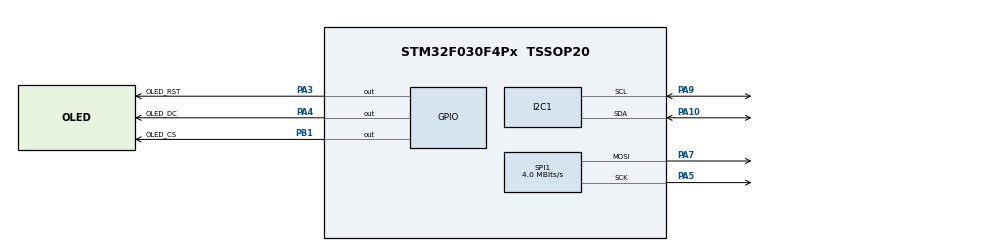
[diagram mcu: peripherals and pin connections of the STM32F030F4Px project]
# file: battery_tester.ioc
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Mcu.Family=STM32F0
Mcu.Name=STM32F030F4Px
Mcu.Package=TSSOP20
NVIC.TIM17_IRQn=true\:0\:0\:false\:false\:true\:true\:true\:true
PA10.Mode=I2C
PA10.Signal=I2C1_SDA
PA13.Mode=Serial_Wire
PA13.Signal=SYS_SWDIO
PA14.Mode=Serial_Wire
PA14.Signal=SYS_SWCLK
PA3.GPIO_Label=OLED_RST
PA3.Signal=GPIO_Output
PA4.GPIO_Label=OLED_DC
PA4.Signal=GPIO_Output
PA5.Mode=TX_Only_Simplex_Unidirect_Master
PA5.Signal=SPI1_SCK
PA7.Mode=TX_Only_Simplex_Unidirect_Master
PA7.Signal=SPI1_MOSI
PA9.Mode=I2C
PA9.Signal=I2C1_SCL
PB1.GPIO_Label=OLED_CS
PB1.Signal=GPIO_Output
ProjectManager.HeapSize=0x200
ProjectManager.StackSize=0x400
ProjectManager.TargetToolchain=STM32CubeIDE
SPI1.BaudRatePrescaler=SPI_BAUDRATEPRESCALER_2
SPI1.CalculateBaudRate=4.0 MBits/s
SPI1.DataSize=SPI_DATASIZE_8BIT
SPI1.Direction=SPI_DIRECTION_2LINES
SPI1.Mode=SPI_MODE_MASTER
SPI1.VirtualType=VM_MASTER
TIM17.Period=999
TIM17.Prescaler=7999
VP_TIM17_VS_ClockSourceINT.Mode=Enable_Timer
board=custom

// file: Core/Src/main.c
/* USER CODE BEGIN Header */
/**
  ******************************************************************************
  * @file           : main.c
  * @brief          : Main program body
  ******************************************************************************
  * @attention
  *
  * Copyright (c) 2024 STMicroelectronics.
  * All rights reserved.
  *
  * This software is licensed under terms that can be found in the LICENSE file
  * in the root directory of this software component.
  * If no LICENSE file comes with this software, it is provided AS-IS.
  *
  ******************************************************************************
  */
/* USER CODE END Header */
#include "main.h"

/* USER CODE BEGIN Includes */
#include "ina219.h"
#include "ssd1306.h"
#include "ssd1306_fonts.h"
#include <stdio.h>
/* USER CODE END Includes */

/* USER CODE BEGIN PTD */
typedef struct {
	uint32_t voltage;
	uint32_t current;
	uint64_t capacity;
	uint64_t energy;
}BatteryStatus_t;

/* USER CODE END PTD */

I2C_HandleTypeDef hi2c1;

SPI_HandleTypeDef hspi1;

TIM_HandleTypeDef htim17;

/* USER CODE BEGIN PV */
INA219_t ina219;
volatile BatteryStatus_t battery = {
		.voltage = 0,
		.current = 0,
		.capacity = 0,
		.energy = 0
};
uint32_t time = 0;
/* USER CODE END PV */

void SystemClock_Config(void);
static void MX_GPIO_Init(void);
static void MX_I2C1_Init(void);
static void MX_TIM17_Init(void);
static void MX_SPI1_Init(void);

/* USER CODE BEGIN 0 */
void HAL_TIM_PeriodElapsedCallback(TIM_HandleTypeDef *htim) {
    if(htim->Instance == TIM17) {
    	battery.voltage = INA219_ReadBusVoltage(&ina219);            // mV
    	battery.current = INA219_ReadCurrent(&ina219);               // mA
    	battery.capacity += battery.current;                         // Must be divided by 3600
    	battery.energy += (battery.voltage * battery.current / 1000);   // mWh, bust be divided by 3600
    	time += 1;                                                   // seconds counter

    	char txt[25];
    	ssd1306_Fill(Black);

    	sprintf(txt, "%u.%03u V", (uint16_t)(battery.voltage / 1000), (uint16_t)(battery.voltage % 1000));
    	ssd1306_SetCursor(2, 2);
    	ssd1306_WriteString(txt, Font_6x8, White);

    	sprintf(txt, "%u.%03u A", (uint16_t)(battery.current / 1000), (uint16_t)(battery.current % 1000));
    	ssd1306_SetCursor(2, 12);
    	ssd1306_WriteString(txt, Font_6x8, White);

    	uint64_t capacity = battery.capacity / 3600;
    	sprintf(txt, "%u.%03u Ah", (uint16_t)(capacity / 1000), (uint16_t)(capacity % 1000));
    	ssd1306_SetCursor(2, 22);
    	ssd1306_WriteString(txt, Font_6x8, White);

    	uint64_t energy = battery.energy / 3600;
    	sprintf(txt, "%u.%03u Wh", (uint16_t)(energy / 1000), (uint16_t)(energy % 1000));
    	ssd1306_SetCursor(2, 32);
    	ssd1306_WriteString(txt, Font_6x8, White);

    	uint8_t hours = time / 3600;
    	uint8_t minutes = (time % 3600) / 60;
    	uint8_t seconds = (time % 3600) % 60;
    	sprintf(txt, "%02u:%02u:%02u", hours, minutes, seconds);
    	ssd1306_SetCursor(2, 42);
    	ssd1306_WriteString(txt, Font_6x8, White);
    	ssd1306_UpdateScreen();
    }
}
/* USER CODE END 0 */

int main(void)
{

  /* MCU Configuration--------------------------------------------------------*/

  /* Reset of all peripherals, Initializes the Flash interface and the Systick. */
  HAL_Init();

  /* Configure the system clock */
  SystemClock_Config();

  /* Initialize all configured peripherals */
  MX_GPIO_Init();
  MX_I2C1_Init();
  MX_TIM17_Init();
  MX_SPI1_Init();
  /* USER CODE BEGIN 2 */
  ssd1306_Init();
  ssd1306_Fill(Black);
  ssd1306_SetCursor(2, 2);
  ssd1306_WriteString("Init...", Font_6x8, White);
  ssd1306_UpdateScreen();

  while(!INA219_Init(&ina219, &hi2c1, 0x41)) { }

  HAL_TIM_Base_Start_IT(&htim17);

  /* USER CODE END 2 */

  /* Infinite loop */
  while (1)
  {

  }
}

void SystemClock_Config(void)
{
  RCC_OscInitTypeDef RCC_OscInitStruct = {0};
  RCC_ClkInitTypeDef RCC_ClkInitStruct = {0};
  RCC_PeriphCLKInitTypeDef PeriphClkInit = {0};

  /** Initializes the RCC Oscillators according to the specified parameters
  * in the RCC_OscInitTypeDef structure.
  */
  RCC_OscInitStruct.OscillatorType = RCC_OSCILLATORTYPE_HSI;
  RCC_OscInitStruct.HSIState = RCC_HSI_ON;
  RCC_OscInitStruct.HSICalibrationValue = RCC_HSICALIBRATION_DEFAULT;
  RCC_OscInitStruct.PLL.PLLState = RCC_PLL_NONE;
  if (HAL_RCC_OscConfig(&RCC_OscInitStruct) != HAL_OK)
  {
    Error_Handler();
  }

  /** Initializes the CPU, AHB and APB buses clocks
  */
  RCC_ClkInitStruct.ClockType = RCC_CLOCKTYPE_HCLK|RCC_CLOCKTYPE_SYSCLK
                              |RCC_CLOCKTYPE_PCLK1;
  RCC_ClkInitStruct.SYSCLKSource = RCC_SYSCLKSOURCE_HSI;
  RCC_ClkInitStruct.AHBCLKDivider = RCC_SYSCLK_DIV1;
  RCC_ClkInitStruct.APB1CLKDivider = RCC_HCLK_DIV1;

  if (HAL_RCC_ClockConfig(&RCC_ClkInitStruct, FLASH_LATENCY_0) != HAL_OK)
  {
    Error_Handler();
  }
  PeriphClkInit.PeriphClockSelection = RCC_PERIPHCLK_I2C1;
  PeriphClkInit.I2c1ClockSelection = RCC_I2C1CLKSOURCE_HSI;
  if (HAL_RCCEx_PeriphCLKConfig(&PeriphClkInit) != HAL_OK)
  {
    Error_Handler();
  }
}

static void MX_I2C1_Init(void)
{

  hi2c1.Instance = I2C1;
  hi2c1.Init.Timing = 0x2000090E;
  hi2c1.Init.OwnAddress1 = 0;
  hi2c1.Init.AddressingMode = I2C_ADDRESSINGMODE_7BIT;
  hi2c1.Init.DualAddressMode = I2C_DUALADDRESS_DISABLE;
  hi2c1.Init.OwnAddress2 = 0;
  hi2c1.Init.OwnAddress2Masks = I2C_OA2_NOMASK;
  hi2c1.Init.GeneralCallMode = I2C_GENERALCALL_DISABLE;
  hi2c1.Init.NoStretchMode = I2C_NOSTRETCH_DISABLE;
  if (HAL_I2C_Init(&hi2c1) != HAL_OK)
  {
    Error_Handler();
  }

  /** Configure Analogue filter
  */
  if (HAL_I2CEx_ConfigAnalogFilter(&hi2c1, I2C_ANALOGFILTER_ENABLE) != HAL_OK)
  {
    Error_Handler();
  }

  /** Configure Digital filter
  */
  if (HAL_I2CEx_ConfigDigitalFilter(&hi2c1, 0) != HAL_OK)
  {
    Error_Handler();
  }

}

static void MX_SPI1_Init(void)
{

  /* SPI1 parameter configuration*/
  hspi1.Instance = SPI1;
  hspi1.Init.Mode = SPI_MODE_MASTER;
  hspi1.Init.Direction = SPI_DIRECTION_2LINES;
  hspi1.Init.DataSize = SPI_DATASIZE_8BIT;
  hspi1.Init.CLKPolarity = SPI_POLARITY_LOW;
  hspi1.Init.CLKPhase = SPI_PHASE_1EDGE;
  hspi1.Init.NSS = SPI_NSS_SOFT;
  hspi1.Init.BaudRatePrescaler = SPI_BAUDRATEPRESCALER_2;
  hspi1.Init.FirstBit = SPI_FIRSTBIT_MSB;
  hspi1.Init.TIMode = SPI_TIMODE_DISABLE;
  hspi1.Init.CRCCalculation = SPI_CRCCALCULATION_DISABLE;
  hspi1.Init.CRCPolynomial = 7;
  hspi1.Init.CRCLength = SPI_CRC_LENGTH_DATASIZE;
  hspi1.Init.NSSPMode = SPI_NSS_PULSE_ENABLE;
  if (HAL_SPI_Init(&hspi1) != HAL_OK)
  {
    Error_Handler();
  }

}

static void MX_TIM17_Init(void)
{

  htim17.Instance = TIM17;
  htim17.Init.Prescaler = 7999;
  htim17.Init.CounterMode = TIM_COUNTERMODE_UP;
  htim17.Init.Period = 999;
  htim17.Init.ClockDivision = TIM_CLOCKDIVISION_DIV1;
  htim17.Init.RepetitionCounter = 0;
  htim17.Init.AutoReloadPreload = TIM_AUTORELOAD_PRELOAD_DISABLE;
  if (HAL_TIM_Base_Init(&htim17) != HAL_OK)
  {
    Error_Handler();
  }

}

static void MX_GPIO_Init(void)
{
  GPIO_InitTypeDef GPIO_InitStruct = {0};

  /* GPIO Ports Clock Enable */
  __HAL_RCC_GPIOA_CLK_ENABLE();
  __HAL_RCC_GPIOB_CLK_ENABLE();

  /*Configure GPIO pin Output Level */
  HAL_GPIO_WritePin(GPIOA, OLED_RST_Pin|OLED_DC_Pin, GPIO_PIN_RESET);

  /*Configure GPIO pin Output Level */
  HAL_GPIO_WritePin(OLED_CS_GPIO_Port, OLED_CS_Pin, GPIO_PIN_RESET);

  /*Configure GPIO pins : OLED_RST_Pin OLED_DC_Pin */
  GPIO_InitStruct.Pin = OLED_RST_Pin|OLED_DC_Pin;
  GPIO_InitStruct.Mode = GPIO_MODE_OUTPUT_PP;
  GPIO_InitStruct.Pull = GPIO_NOPULL;
  GPIO_InitStruct.Speed = GPIO_SPEED_FREQ_LOW;
  HAL_GPIO_Init(GPIOA, &GPIO_InitStruct);

  /*Configure GPIO pin : OLED_CS_Pin */
  GPIO_InitStruct.Pin = OLED_CS_Pin;
  GPIO_InitStruct.Mode = GPIO_MODE_OUTPUT_PP;
  GPIO_InitStruct.Pull = GPIO_NOPULL;
  GPIO_InitStruct.Speed = GPIO_SPEED_FREQ_LOW;
  HAL_GPIO_Init(OLED_CS_GPIO_Port, &GPIO_InitStruct);

}

void Error_Handler(void)
{
  __disable_irq();
  while (1)
  {
  }
}
